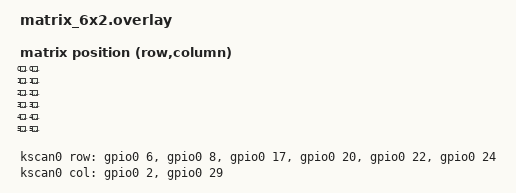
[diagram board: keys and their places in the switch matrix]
#include <dt-bindings/zmk/matrix_transform.h>
#include <physical_layouts.dtsi>

/ {
    chosen {
        zmk,physical-layout = &default_layout;
    };

    default_layout: default_layout {
        compatible = "zmk,physical-layout";
        display-name = "6x2 Layout";
        transform = <&default_transform>;
        kscan = <&kscan0>;
        keys
            = <&key_physical_attrs 19 19   0   0 0 0 0>
            , <&key_physical_attrs 19 19  24   0 0 0 0>
            , <&key_physical_attrs 19 19   0  24 0 0 0>
            , <&key_physical_attrs 19 19  24  24 0 0 0>
            , <&key_physical_attrs 19 19   0  48 0 0 0>
            , <&key_physical_attrs 19 19  24  48 0 0 0>
            , <&key_physical_attrs 19 19   0  72 0 0 0>
            , <&key_physical_attrs 19 19  24  72 0 0 0>
            , <&key_physical_attrs 19 19   0  96 0 0 0>
            , <&key_physical_attrs 19 19  24  96 0 0 0>
            , <&key_physical_attrs 19 19   0 120 0 0 0>
            , <&key_physical_attrs 19 19  24 120 0 0 0>
            ;
    };

    kscan0: kscan {
        compatible = "zmk,kscan-gpio-matrix";
        diode-direction = "col2row";
        row-gpios
            = <&gpio0  6 (GPIO_ACTIVE_HIGH | GPIO_PULL_DOWN)>
            , <&gpio0  8 (GPIO_ACTIVE_HIGH | GPIO_PULL_DOWN)>
            , <&gpio0 17 (GPIO_ACTIVE_HIGH | GPIO_PULL_DOWN)>
            , <&gpio0 20 (GPIO_ACTIVE_HIGH | GPIO_PULL_DOWN)>
            , <&gpio0 22 (GPIO_ACTIVE_HIGH | GPIO_PULL_DOWN)>
            , <&gpio0 24 (GPIO_ACTIVE_HIGH | GPIO_PULL_DOWN)>
            ;
        col-gpios
            = <&gpio0  2 (GPIO_ACTIVE_LOW | GPIO_PULL_UP)>
            , <&gpio0 29 (GPIO_ACTIVE_LOW | GPIO_PULL_UP)>
            ;
    };

    default_transform: default_transform {
        compatible = "zmk,matrix-transform";
        columns = <2>;
        rows = <6>;
        map = <
            RC(0,0) RC(0,1)
            RC(1,0) RC(1,1)
            RC(2,0) RC(2,1)
            RC(3,0) RC(3,1)
            RC(4,0) RC(4,1)
            RC(5,0) RC(5,1)
        >;
    };
};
